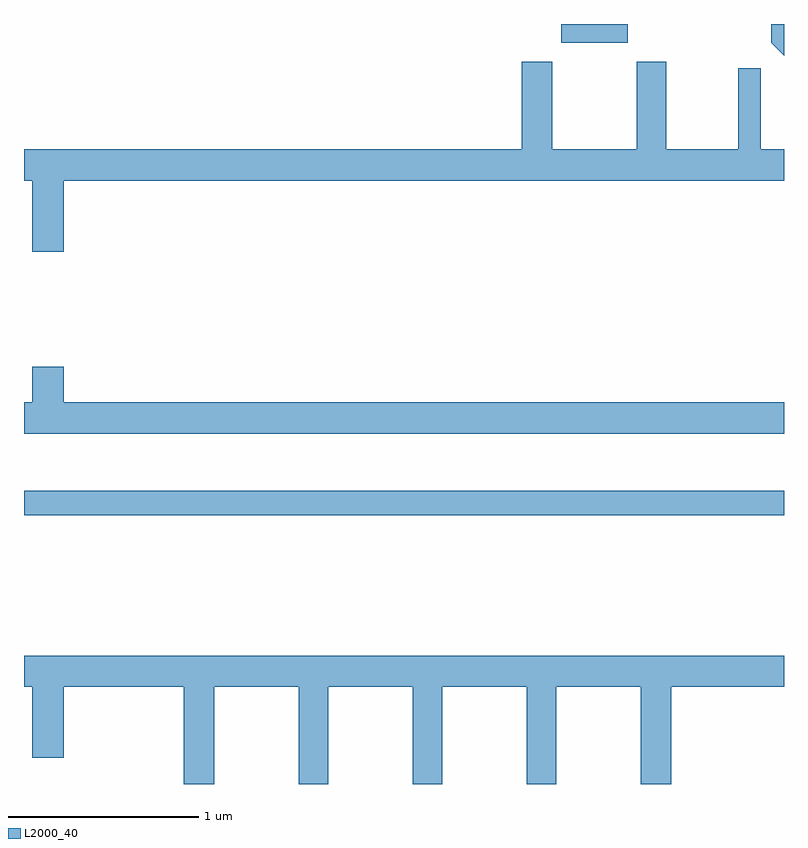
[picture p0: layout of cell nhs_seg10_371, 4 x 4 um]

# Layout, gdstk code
import gdstk
lib = gdstk.Library(unit=1e-6, precision=1e-09)
def R(c, l, rs):  # rectangles x0, y0, x1, y1
    for r in rs: c.add(gdstk.rectangle(r[:2], r[2:], *l))
def P(c, l, *ps):  # polygons
    for p in ps: c.add(gdstk.Polygon(p, *l))
L2000_40 = (2000, 40)

nhs_seg10_371 = lib.new_cell('nhs_seg10_371')
R(nhs_seg10_371, L2000_40, [(129,1271.914,133,1272.043), (131.828,1274.402,132.178,1274.5)])
P(nhs_seg10_371, L2000_40, [(133,1274.5),(132.932,1274.5),(132.932,1274.402),(133,1274.334)],
  [(129.208,1273.676),(133,1273.676),(133,1273.84),(132.877,1273.84),(132.877,1274.266),(132.76,1274.266),(132.76,1273.84),(132.381,1273.84),(132.381,1274.302),(132.226,1274.302),(132.226,1273.84),(131.781,1273.84),(131.781,1274.302),(131.621,1274.302),(131.621,1273.84),(129,1273.84),(129,1273.676),(129.044,1273.676),(129.044,1273.302),(129.208,1273.302)],
  [(133,1272.508),(129.208,1272.508),(129.208,1272.697),(129.044,1272.697),(129.044,1272.508),(129,1272.508),(129,1272.344),(133,1272.344)],
  [(130.002,1271.012),(130.447,1271.012),(130.447,1270.5),(130.602,1270.5),(130.602,1271.012),(131.047,1271.012),(131.047,1270.5),(131.202,1270.5),(131.202,1271.012),(131.647,1271.012),(131.647,1270.5),(131.802,1270.5),(131.802,1271.012),(132.247,1271.012),(132.247,1270.5),(132.407,1270.5),(132.407,1271.012),(133,1271.012),(133,1271.176),(129,1271.176),(129,1271.012),(129.044,1271.012),(129.044,1270.638),(129.208,1270.638),(129.208,1271.012),(129.842,1271.012),(129.842,1270.5),(130.002,1270.5)])

lib.write_gds('nhs_seg10_371.gds')
